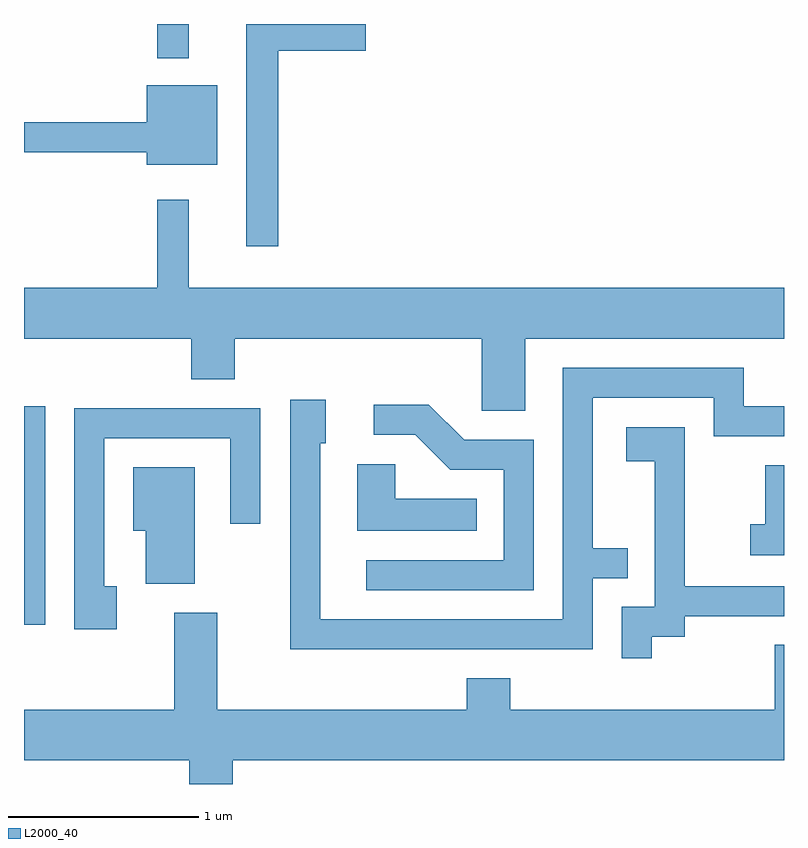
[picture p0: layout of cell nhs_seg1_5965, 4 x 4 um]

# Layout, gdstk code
import gdstk
lib = gdstk.Library(unit=1e-6, precision=1e-09)
def R(c, l, rs):  # rectangles x0, y0, x1, y1
    for r in rs: c.add(gdstk.rectangle(r[:2], r[2:], *l))
def P(c, l, *ps):  # polygons
    for p in ps: c.add(gdstk.Polygon(p, *l))
L2000_40 = (2000, 40)

nhs_seg1_5965 = lib.new_cell('nhs_seg1_5965')
R(nhs_seg1_5965, L2000_40, [(365.611,862.551,365.724,863.699), (366.311,865.533,366.479,865.712)])
P(nhs_seg1_5965, L2000_40, [(366.949,865.571),(367.409,865.571),(367.409,865.712),(366.781,865.712),(366.781,864.543),(366.949,864.543)],
  [(366.629,865.389),(366.256,865.389),(366.256,865.194),(365.611,865.194),(365.611,865.036),(366.256,865.036),(366.256,864.971),(366.629,864.971)],
  [(368.249,864.056),(369.611,864.056),(369.611,864.324),(366.479,864.324),(366.479,864.788),(366.311,864.788),(366.311,864.324),(365.611,864.324),(365.611,864.056),(366.491,864.056),(366.491,863.841),(366.719,863.841),(366.719,864.056),(368.021,864.056),(368.021,863.676),(368.249,863.676)],
  [(368.604,862.796),(368.788,862.796),(368.788,862.954),(368.604,862.954),(368.604,863.746),(369.241,863.746),(369.241,863.541),(369.611,863.541),(369.611,863.699),(369.399,863.699),(369.399,863.904),(368.446,863.904),(368.446,862.579),(367.169,862.579),(367.169,863.506),(367.199,863.506),(367.199,863.734),(367.011,863.734),(367.011,862.421),(368.604,862.421)],
  [(368.294,863.524),(367.927,863.524),(367.742,863.709),(367.453,863.709),(367.453,863.551),(367.669,863.551),(367.854,863.366),(368.136,863.366),(368.136,862.889),(367.413,862.889),(367.413,862.731),(368.294,862.731)],
  [(366.099,862.754),(366.034,862.754),(366.034,863.531),(366.696,863.531),(366.696,863.083),(366.854,863.083),(366.854,863.689),(365.876,863.689),(365.876,862.526),(366.099,862.526)],
  [(368.914,862.486),(369.089,862.486),(369.089,862.596),(369.611,862.596),(369.611,862.754),(369.089,862.754),(369.089,863.589),(368.781,863.589),(368.781,863.411),(368.931,863.411),(368.931,862.644),(368.756,862.644),(368.756,862.373),(368.914,862.373)],
  [(367.993,863.214),(367.564,863.214),(367.564,863.394),(367.366,863.394),(367.366,863.046),(367.993,863.046)],
  [(369.611,863.389),(369.511,863.389),(369.511,863.079),(369.433,863.079),(369.433,862.916),(369.611,862.916)],
  [(366.509,863.379),(366.186,863.379),(366.186,863.046),(366.251,863.046),(366.251,862.766),(366.509,862.766)],
  [(366.709,861.836),(369.611,861.836),(369.611,862.444),(369.561,862.444),(369.561,862.104),(368.169,862.104),(368.169,862.269),(367.941,862.269),(367.941,862.104),(366.629,862.104),(366.629,862.614),(366.401,862.614),(366.401,862.104),(365.611,862.104),(365.611,861.836),(366.481,861.836),(366.481,861.712),(366.709,861.712)])

lib.write_gds('nhs_seg1_5965.gds')
